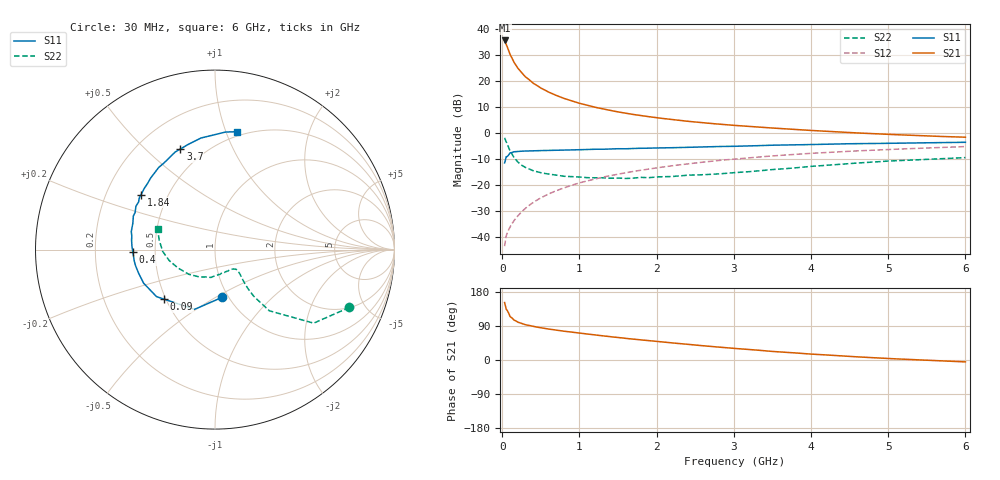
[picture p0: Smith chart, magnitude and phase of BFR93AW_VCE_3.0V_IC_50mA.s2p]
! Infineon Technologies  Discrete & RF Semiconductors
! BFR93AW
! VCE =  3.0 V,  IC =  50 mA
! Common Emitter S-Parameters:  Nov 2015
# GHz  S  MA  R  50
!  f  S11  S21  S12  S22
! GHz  MAG  ANG  MAG  ANG  MAG  ANG  MAG  ANG
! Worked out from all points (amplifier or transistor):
!   206 points, 30 MHz to 6 GHz, reference 50 ohm
!   highest |S21| = 35.6 dB at 30 MHz (marker M1)
!   |S21| within 3 dB of that: start of sweep to 71.25 MHz
!   unconditionally stable (mu >= 1): 342 MHz to 2.225 GHz
!   at 200 MHz: K = 0.92, MSG = 28.4 dB, |S12| = -31.8 dB
!   at 1.56 GHz: K = 1.04, MAG = 10.4 dB, |S12| = -15.4 dB
!   at 6 GHz: K = 0.93, MSG = 1.8 dB, |S12| = -5.2 dB
!   S11 on the Smith chart (normalised r, x): 30 MHz: 0.94, -0.54; 90 MHz: 0.49, -0.32; 400 MHz: 0.37, -0.01; 1.84 GHz: 0.35, +0.29; 3.7 GHz: 0.37, +0.65; 6 GHz: 0.46, +1.09
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0.03  0.2686 -81.2  59.93 151.5  0.0068 69.8  0.8151 -23.3
0.05  0.3518 -108.9  50.74 134.5  0.0106 65.4  0.6858 -36.7
0.09  0.3957 -135.7  35.71 120.3  0.0148 65.3  0.4998 -45.2
0.1  0.4181 -141.2  32.49 114.8  0.0159 65.3  0.4559 -48.4
0.15  0.4395 -154.8  22.98 105.6  0.0208 67.8  0.3404 -50.3
0.2  0.445 -162.4  17.71 100.0  0.0258 69.0  0.2806 -49.8
0.24  0.45 -167.2  14.98 97.0  0.0298 71.4  0.2499 -48.6
0.26  0.4521 -169.1  13.85 95.6  0.0319 72.3  0.2378 -48.0
0.3  0.4542 -171.9  12.02 93.1  0.0362 73.8  0.2203 -46.7
0.4  0.4585 -178.2  9.083 88.5  0.0468 74.3  0.1905 -44.0
0.5  0.4629 177.7  7.325 84.8  0.0574 75.2  0.1733 -43.1
0.6  0.4674 174.3  6.128 81.7  0.068 75.4  0.1638 -42.8
0.8  0.4772 167.8  4.632 76.0  0.0891 74.7  0.1489 -46.1
1.04  0.4826 161.3  3.608 70.0  0.1153 73.1  0.1424 -51.4
1.4  0.4975 152.9  2.725 61.5  0.1531 70.5  0.1365 -64.1
1.84  0.514 143.4  2.128 52.1  0.1993 66.6  0.1409 -79.8
2.02  0.5206 139.5  1.958 48.4  0.2179 64.9  0.1453 -86.9
3.1  0.5638 119.0  1.378 29.2  0.3272 53.7  0.1782 -122.6
3.7  0.5929 109.0  1.201 20.0  0.3833 47.1  0.2101 -144.0
4.1  0.6084 102.8  1.106 14.5  0.4178 42.7  0.2359 -156.5
5.1  0.6419 89.6  0.935 3.0  0.4928 31.6  0.2953 179.5
6  0.6679 79.5  0.836 -5.0  0.5521 22.4  0.3398 160.3
